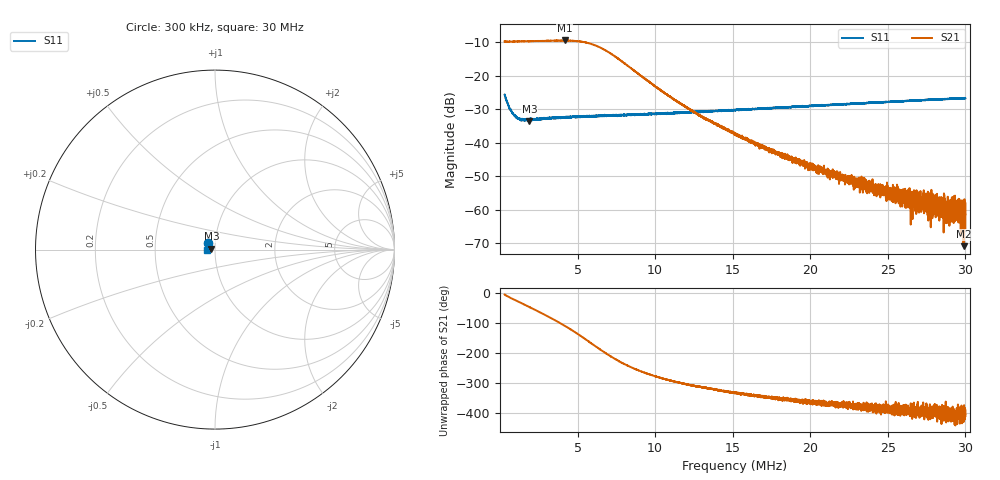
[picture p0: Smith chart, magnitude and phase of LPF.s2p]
!Agilent Technologies,N5230A,MY45001891,A.06.04.21
!Agilent N5230A: A.06.04.21
!Date: Friday, April 29, 2022 16:58:43
!Correction: S11(Off) S21(Off) S12(Off) S22(Off)
!S2P File: Measurements: S11, S21, S12, S22:
# Hz S  dB  R 50
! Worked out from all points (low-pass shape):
!   6401 points, 300 kHz to 30 MHz, reference 50 ohm
!   highest |S21| = -9.43 dB at 4.166 MHz (marker M1); lowest = -70.9 dB at 29.88 MHz (marker M2)
!   |S21| within 3 dB of the highest: start of sweep to 6.81 MHz; 6.811946 MHz to 6.817311 MHz (5.364 kHz wide, 0.0787 % of centre)
!   lowest |S11| = -33.6 dB at 1.901 MHz (marker M3), VSWR 1.04, Z = 48 + j0.488 ohm
!   |S11| at or under -10 dB: start of sweep to end of sweep
!   S12 and S22 are empty: the file has one direction only
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300000  -25.62 134.7  -9.74 -4.3  -677.58 90.0  -680.88 90.0
694453.1  -30.19 137.8  -9.78 -16.1  -677.58 90.0  -680.88 90.0
1019297  -32.28 147.4  -9.71 -23.8  -677.58 90.0  -680.88 90.0
1353422  -33.04 156.6  -9.70 -32.3  -677.58 90.0  -680.88 90.0
1901016  -33.57 166.0  -9.63 -46.4  -677.58 90.0  -680.88 90.0
3140062  -32.70 175.0  -9.55 -78.6  -677.58 90.0  -680.88 90.0
4165641  -32.50 178.3  -9.43 -108.3  -677.58 90.0  -680.88 90.0
5251547  -32.24 -179.8  -9.79 -144.0  -677.58 90.0  -680.88 90.0
6142547  -32.02 -178.9  -10.90 -176.5  -677.58 90.0  -680.88 90.0
7260938  -31.74 -177.6  -13.70 145.7  -677.58 90.0  -680.88 90.0
8592797  -31.61 -177.3  -18.29 110.0  -677.58 90.0  -680.88 90.0
1.020309e7  -31.45 -172.0  -23.84 80.6  -677.58 90.0  -680.88 90.0
1.295034e7  -30.71 -170.7  -31.99 46.9  -677.58 90.0  -680.88 90.0
1.515e7  -30.22 -169.6  -37.49 28.9  -677.58 90.0  -680.88 90.0
2.010155e7  -29.01 -170.0  -46.18 -5.0  -677.58 90.0  -680.88 90.0
2.505309e7  -27.85 -172.9  -53.71 -22.5  -677.58 90.0  -680.88 90.0
2.782819e7  -27.13 -174.8  -59.50 -47.0  -677.58 90.0  -680.88 90.0
2.811127e7  -27.12 -175.4  -58.31 -29.6  -677.58 90.0  -680.88 90.0
2.874703e7  -26.90 -175.8  -58.13 -52.3  -677.58 90.0  -680.88 90.0
2.946169e7  -26.80 -176.7  -61.21 -39.8  -677.58 90.0  -680.88 90.0
2.987934e7  -26.62 -177.6  -70.95 -51.0  -677.58 90.0  -680.88 90.0
3e7  -26.72 -177.6  -65.62 -30.2  -677.58 90.0  -680.88 90.0
